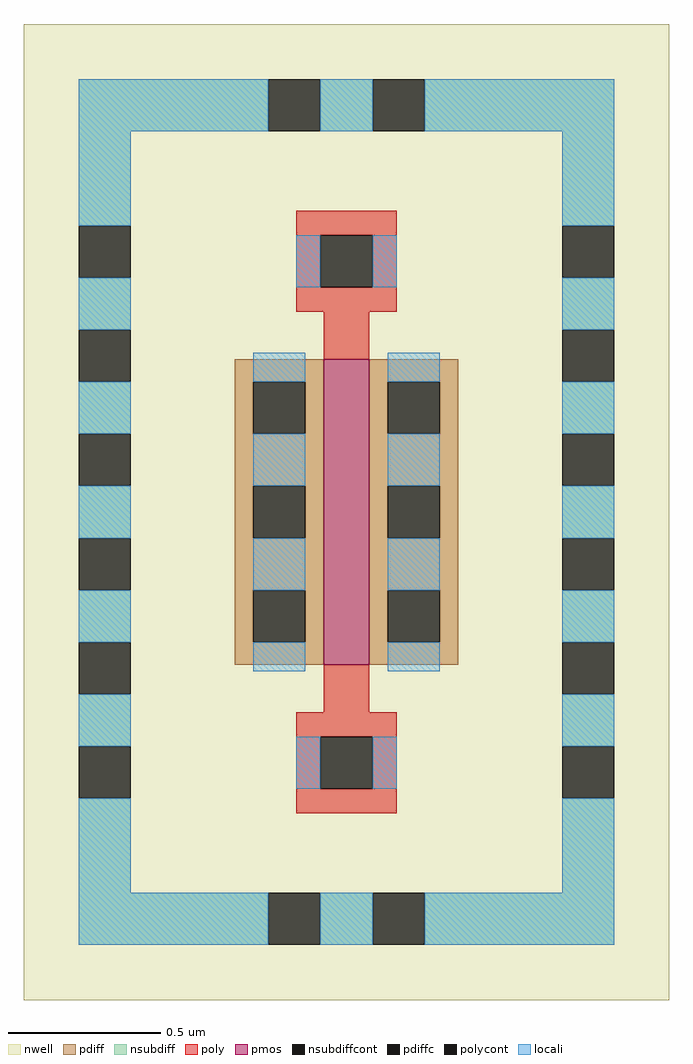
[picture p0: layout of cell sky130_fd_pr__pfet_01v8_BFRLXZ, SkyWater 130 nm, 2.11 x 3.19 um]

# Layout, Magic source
magic
tech sky130A
magscale 1 2
<< nwell >>
rect -211 -319 211 319
<< pmos >>
rect -15 -100 15 100
<< pdiff >>
rect -73 85 -15 100
rect -73 51 -61 85
rect -27 51 -15 85
rect -73 17 -15 51
rect -73 -17 -61 17
rect -27 -17 -15 17
rect -73 -51 -15 -17
rect -73 -85 -61 -51
rect -27 -85 -15 -51
rect -73 -100 -15 -85
rect 15 85 73 100
rect 15 51 27 85
rect 61 51 73 85
rect 15 17 73 51
rect 15 -17 27 17
rect 61 -17 73 17
rect 15 -51 73 -17
rect 15 -85 27 -51
rect 61 -85 73 -51
rect 15 -100 73 -85
<< pdiffc >>
rect -61 51 -27 85
rect -61 -17 -27 17
rect -61 -85 -27 -51
rect 27 51 61 85
rect 27 -17 61 17
rect 27 -85 61 -51
<< nsubdiff >>
rect -175 249 -51 283
rect -17 249 17 283
rect 51 249 175 283
rect -175 187 -141 249
rect -175 119 -141 153
rect 141 187 175 249
rect 141 119 175 153
rect -175 51 -141 85
rect -175 -17 -141 17
rect -175 -85 -141 -51
rect 141 51 175 85
rect 141 -17 175 17
rect 141 -85 175 -51
rect -175 -153 -141 -119
rect -175 -249 -141 -187
rect 141 -153 175 -119
rect 141 -249 175 -187
rect -175 -283 -51 -249
rect -17 -283 17 -249
rect 51 -283 175 -249
<< nsubdiffcont >>
rect -51 249 -17 283
rect 17 249 51 283
rect -175 153 -141 187
rect 141 153 175 187
rect -175 85 -141 119
rect -175 17 -141 51
rect -175 -51 -141 -17
rect -175 -119 -141 -85
rect 141 85 175 119
rect 141 17 175 51
rect 141 -51 175 -17
rect 141 -119 175 -85
rect -175 -187 -141 -153
rect 141 -187 175 -153
rect -51 -283 -17 -249
rect 17 -283 51 -249
<< poly >>
rect -33 181 33 197
rect -33 147 -17 181
rect 17 147 33 181
rect -33 131 33 147
rect -15 100 15 131
rect -15 -131 15 -100
rect -33 -147 33 -131
rect -33 -181 -17 -147
rect 17 -181 33 -147
rect -33 -197 33 -181
<< polycont >>
rect -17 147 17 181
rect -17 -181 17 -147
<< locali >>
rect -175 249 -51 283
rect -17 249 17 283
rect 51 249 175 283
rect -175 187 -141 249
rect 141 187 175 249
rect -175 119 -141 153
rect -33 147 -17 181
rect 17 147 33 181
rect 141 119 175 153
rect -175 51 -141 85
rect -175 -17 -141 17
rect -175 -85 -141 -51
rect -61 85 -27 104
rect -61 17 -27 51
rect -61 -51 -27 -17
rect -61 -104 -27 -85
rect 27 85 61 104
rect 27 17 61 51
rect 27 -51 61 -17
rect 27 -104 61 -85
rect 141 51 175 85
rect 141 -17 175 17
rect 141 -85 175 -51
rect -175 -153 -141 -119
rect -33 -181 -17 -147
rect 17 -181 33 -147
rect 141 -153 175 -119
rect -175 -249 -141 -187
rect 141 -249 175 -187
rect -175 -283 -51 -249
rect -17 -283 17 -249
rect 51 -283 175 -249
<< properties >>
string FIXED_BBOX -158 -266 158 266
<< end >>
